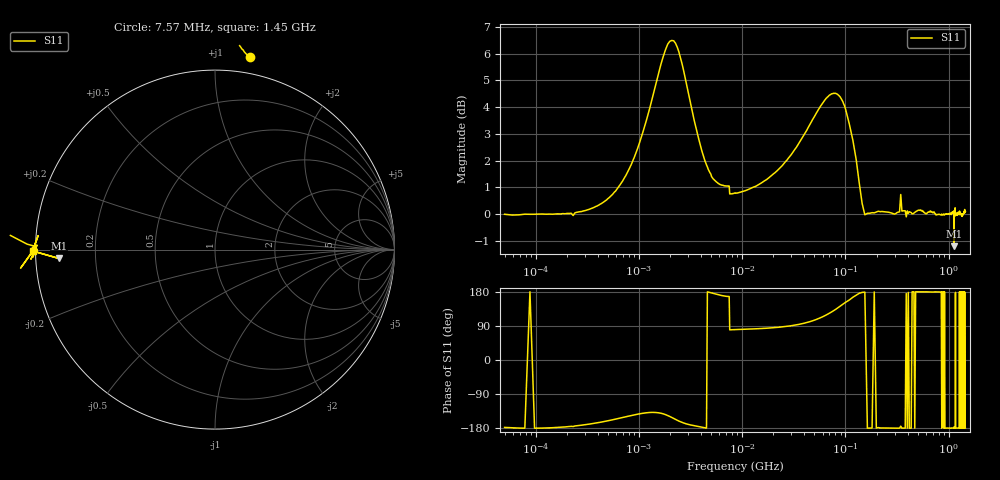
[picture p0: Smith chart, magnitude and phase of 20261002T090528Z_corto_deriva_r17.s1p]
! piloto_deriva / corto_deriva / r17
# HZ S RI R 50
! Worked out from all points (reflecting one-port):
!   501 points, 50 kHz to 1.45 GHz, reference 50 ohm
!   lowest |S11| = -1.2 dB at 1.126 GHz (marker M1), VSWR 14.51, Z = 3.45 - j1.41 ohm
!   phase of S11 starts at -178 deg and turns -2 deg over the sweep
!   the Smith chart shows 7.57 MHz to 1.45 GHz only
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50000  -0.9986 -0.0371
183000  -1.001 -0.0521
373000  -1.004 -0.2332
658000  -1.015 -0.5097
1180000  -1.135 -0.9759
1630000  -1.469 -1.212
1990000  -1.805 -1.083
2170000  -1.899 -0.9189
2440000  -1.903 -0.6449
3070000  -1.634 -0.2703
4330000  -1.262 -0.026
7300000  -1.102 0.242
7750000  0.1948 1.074
8560000  0.1872 1.08
1.9e7  0.1091 1.174
3.16e7  -0.0346 1.312
4.69e7  -0.3232 1.454
6.76e7  -0.8604 1.417
8.02e7  -1.157 1.221
9.46e7  -1.363 0.8777
9.82e7  -1.384 0.7831
1e8  -1.391 0.7373
1.18e8  -1.331 0.3413
1.36e8  -1.14 0.079
1.63e8  -1.003 -0.00384
4.06e8  -1.003 0.0302
1.126e9  -0.8696 -0.0495
1.45e9  -1.012 -0.00975
